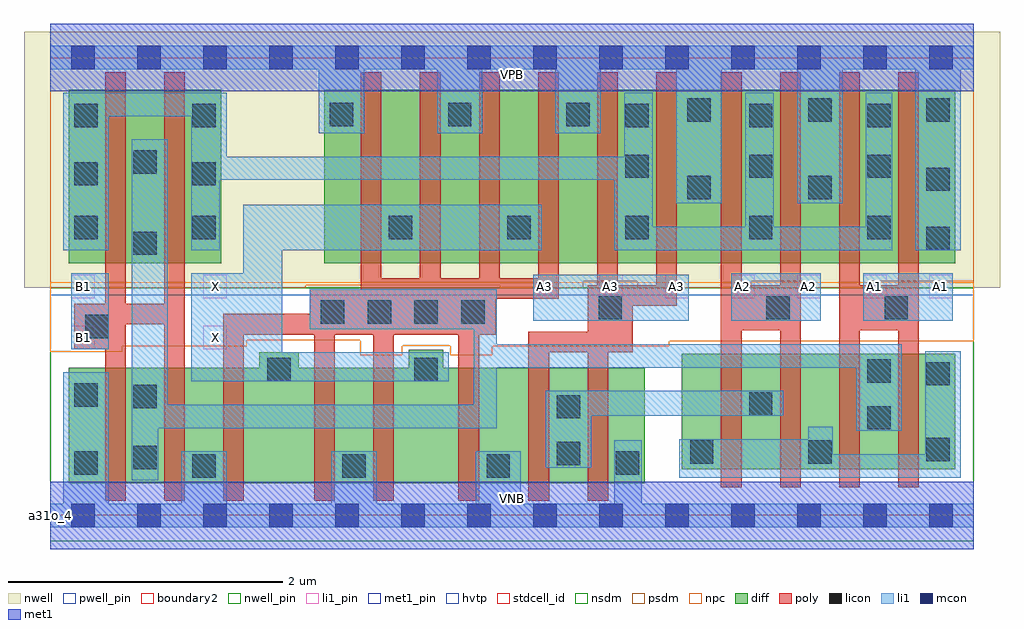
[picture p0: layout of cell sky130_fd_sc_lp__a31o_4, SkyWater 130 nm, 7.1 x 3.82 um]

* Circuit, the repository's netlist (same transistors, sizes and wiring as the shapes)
* Copyright 2020 The SkyWater PDK Authors
*
* Licensed under the Apache License, Version 2.0 (the "License");
* you may not use this file except in compliance with the License.
* You may obtain a copy of the License at
*
*     https://www.apache.org/licenses/LICENSE-2.0
*
* Unless required by applicable law or agreed to in writing, software
* distributed under the License is distributed on an "AS IS" BASIS,
* WITHOUT WARRANTIES OR CONDITIONS OF ANY KIND, either express or implied.
* See the License for the specific language governing permissions and
* limitations under the License.
*
* SPDX-License-Identifier: Apache-2.0

.SUBCKT sky130_fd_sc_lp__a31o_4 A1 A2 A3 B1 VGND VNB VPB VPWR X
*.PININFO A1:I A2:I A3:I B1:I VGND:I VNB:I VPB:I VPWR:I X:O
MMPA0 pndA A1 VPWR VPB sky130_fd_pr__pfet_01v8_hvt m=2 w=1.26U l=0.15U mult=1 sa=0.265
+ sb=0.265 sd=0.28 area=0.063 perim=1.14
MMPA1 pndA A2 VPWR VPB sky130_fd_pr__pfet_01v8_hvt m=2 w=1.26U l=0.15U mult=1 sa=0.265
+ sb=0.265 sd=0.28 area=0.063 perim=1.14
MMPA2 pndA A3 VPWR VPB sky130_fd_pr__pfet_01v8_hvt m=2 w=1.26U l=0.15U mult=1 sa=0.265
+ sb=0.265 sd=0.28 area=0.063 perim=1.14
MMPB0 y B1 pndA VPB sky130_fd_pr__pfet_01v8_hvt m=2 w=1.26U l=0.15U mult=1 sa=0.265
+ sb=0.265 sd=0.28 area=0.063 perim=1.14
MMIPX X y VPWR VPB sky130_fd_pr__pfet_01v8_hvt m=4 w=1.26U l=0.15U mult=1 sa=0.265
+ sb=0.265 sd=0.28 area=0.063 perim=1.14
MMNA0 y A1 sndA1 VNB sky130_fd_pr__nfet_01v8 m=2 w=0.84U l=0.15U mult=1 sa=0.265
+ sb=0.265 sd=0.28 area=0.063 perim=1.14
MMNA1 sndA1 A2 sndA2 VNB sky130_fd_pr__nfet_01v8 m=2 w=0.84U l=0.15U mult=1 sa=0.265
+ sb=0.265 sd=0.28 area=0.063 perim=1.14
MMNA2 sndA2 A3 VGND VNB sky130_fd_pr__nfet_01v8 m=2 w=0.84U l=0.15U mult=1 sa=0.265
+ sb=0.265 sd=0.28 area=0.063 perim=1.14
MMNB0 y B1 VGND VNB sky130_fd_pr__nfet_01v8 m=2 w=0.84U l=0.15U mult=1 sa=0.265
+ sb=0.265 sd=0.28 area=0.063 perim=1.14
MMINX X y VGND VNB sky130_fd_pr__nfet_01v8 m=4 w=0.84U l=0.15U mult=1 sa=0.265
+ sb=0.265 sd=0.28 area=0.063 perim=1.14
.ENDS sky130_fd_sc_lp__a31o_4

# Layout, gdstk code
import gdstk
lib = gdstk.Library(unit=1e-6, precision=1e-09)
def R(c, l, rs):  # rectangles x0, y0, x1, y1
    for r in rs: c.add(gdstk.rectangle(r[:2], r[2:], *l))
def A(c, l, x, y, w, h, nx, ny, dx, dy):  # array of equal rectangles
    R(c, l, [(x+i*dx, y+j*dy, x+i*dx+w, y+j*dy+h) for i in range(nx) for j in range(ny)])
def P(c, l, *ps):  # polygons
    for p in ps: c.add(gdstk.Polygon(p, *l))
nwell_pin = (64, 16)
nwell = (64, 20)
diff = (65, 20)
poly = (66, 20)
licon = (66, 44)
li1_pin = (67, 16)
li1 = (67, 20)
mcon = (67, 44)
met1_pin = (68, 16)
met1 = (68, 20)
hvtp = (78, 44)
stdcell_id = (81, 4)
nsdm = (93, 44)
psdm = (94, 20)
npc = (95, 20)
pwell_pin = (122, 16)
boundary2 = (236, 0)

sky130_fd_sc_lp__a31o_4 = lib.new_cell('sky130_fd_sc_lp__a31o_4')
R(sky130_fd_sc_lp__a31o_4, nwell_pin, [(0,3.085,6.72,3.33)])
R(sky130_fd_sc_lp__a31o_4, nwell, [(-0.19,1.655,6.91,3.52)])
R(sky130_fd_sc_lp__a31o_4, diff, [(4.595,0.335,6.585,1.175), (0.135,1.835,1.245,3.095), (1.995,1.835,6.585,3.095)])
P(sky130_fd_sc_lp__a31o_4, diff, [(4.325,1.075),(2.86,1.075),(2.86,1.205),(2.61,1.205),(2.61,1.075),(1.81,1.075),(1.81,1.185),(1.52,1.185),(1.52,1.075),(0.135,1.075),(0.135,0.235),(4.325,0.235)])
P(sky130_fd_sc_lp__a31o_4, poly, [(0.98,3.225),(0.83,3.225),(0.83,1.54),(0.55,1.54),(0.55,3.225),(0.4,3.225),(0.4,1.54),(0.175,1.54),(0.175,1.21),(0.4,1.21),(0.4,0.105),(0.55,0.105),(0.55,1.39),(0.83,1.39),(0.83,0.105),(0.98,0.105)],
  [(3.7,3.225),(3.55,3.225),(3.55,1.725),(3.27,1.725),(3.27,3.225),(3.12,3.225),(3.12,1.725),(2.84,1.725),(2.84,3.225),(2.69,3.225),(2.69,1.725),(2.41,1.725),(2.41,3.225),(2.26,3.225),(2.26,1.645),(1.89,1.645),(1.89,1.465),(1.26,1.465),(1.26,0.105),(1.41,0.105),(1.41,1.315),(1.92,1.315),(1.92,0.105),(2.07,0.105),(2.07,1.315),(2.35,1.315),(2.35,0.105),(2.5,0.105),(2.5,1.315),(2.97,1.315),(2.97,0.105),(3.12,0.105),(3.12,1.315),(3.24,1.315),(3.24,1.575),(3.7,1.575)],
  [(4.56,3.225),(4.41,3.225),(4.41,1.675),(4.13,1.675),(4.13,3.225),(3.98,3.225),(3.98,1.675),(3.91,1.675),(3.91,1.335),(3.48,1.335),(3.48,0.105),(3.63,0.105),(3.63,1.185),(3.91,1.185),(3.91,0.105),(4.06,0.105),(4.06,1.185),(4.24,1.185),(4.24,1.525),(4.56,1.525)],
  [(5.46,3.225),(5.31,3.225),(5.31,1.675),(5.03,1.675),(5.03,3.225),(4.88,3.225),(4.88,0.205),(5.03,0.205),(5.03,1.345),(5.31,1.345),(5.31,0.205),(5.46,0.205)],
  [(6.32,3.225),(6.17,3.225),(6.17,1.675),(5.89,1.675),(5.89,3.225),(5.74,3.225),(5.74,0.205),(5.89,0.205),(5.89,1.345),(6.17,1.345),(6.17,0.205),(6.32,0.205)])
A(sky130_fd_sc_lp__a31o_4, licon, 1.97, 1.395, 0.17, 0.17, 4, 1, 0.34, 0)
A(sky130_fd_sc_lp__a31o_4, licon, 2.465, 2.01, 0.17, 0.17, 3, 1, 0.86, 0)
A(sky130_fd_sc_lp__a31o_4, licon, 2.035, 2.83, 0.17, 0.17, 3, 1, 0.86, 0)
R(sky130_fd_sc_lp__a31o_4, licon, [(1.035,0.275,1.205,0.445), (2.125,0.275,2.295,0.445), (3.175,0.275,3.345,0.445), (0.175,0.295,0.345,0.465), (4.115,0.295,4.285,0.465), (0.605,0.335,0.775,0.505), (3.685,0.365,3.855,0.535), (4.655,0.375,4.825,0.545), (5.515,0.375,5.685,0.545), (6.375,0.395,6.545,0.565), (5.945,0.625,6.115,0.795), (3.685,0.705,3.855,0.875), (5.085,0.725,5.255,0.895), (0.605,0.78,0.775,0.95), (0.175,0.79,0.345,0.96), (6.375,0.945,6.545,1.115), (5.945,0.965,6.115,1.135), (1.58,0.975,1.75,1.145), (2.65,0.975,2.82,1.145), (0.255,1.29,0.425,1.46), (3.99,1.425,4.16,1.595), (5.21,1.425,5.38,1.595), (6.07,1.425,6.24,1.595), (0.605,1.895,0.775,2.065), (6.375,1.93,6.545,2.1), (0.175,2.01,0.345,2.18), (1.035,2.01,1.205,2.18), (5.085,2.01,5.255,2.18), (5.945,2.01,6.115,2.18), (4.635,2.3,4.805,2.47), (5.515,2.3,5.685,2.47), (6.375,2.36,6.545,2.53), (0.175,2.4,0.345,2.57), (1.035,2.4,1.205,2.57), (4.185,2.455,4.355,2.625), (5.085,2.455,5.255,2.625), (5.945,2.455,6.115,2.625), (0.605,2.485,0.775,2.655), (0.175,2.825,0.345,2.995), (1.035,2.825,1.205,2.995), (4.185,2.825,4.355,2.995), (5.085,2.825,5.255,2.995), (5.945,2.825,6.115,2.995), (4.635,2.865,4.805,3.035), (5.515,2.865,5.685,3.035), (6.375,2.865,6.545,3.035)])
A(sky130_fd_sc_lp__a31o_4, li1_pin, 3.515, 1.58, 0.17, 0.17, 7, 1, 0.48, 0)
R(sky130_fd_sc_lp__a31o_4, li1_pin, [(0.155,1.21,0.325,1.38), (1.115,1.21,1.285,1.38), (0.155,1.58,0.325,1.75), (1.115,1.58,1.285,1.75)])
R(sky130_fd_sc_lp__a31o_4, li1, [(0.155,1.21,0.425,1.76), (3.515,1.415,4.645,1.75), (4.955,1.415,5.605,1.76), (5.915,1.415,6.565,1.76)])
P(sky130_fd_sc_lp__a31o_4, li1, [(1.955,2.78),(1.955,3.245),(0,3.245),(0,3.415),(6.72,3.415),(6.72,3.245),(6.625,3.245),(6.625,1.93),(6.295,1.93),(6.295,3.245),(5.765,3.245),(5.765,2.27),(5.435,2.27),(5.435,3.245),(4.885,3.245),(4.885,2.27),(4.555,2.27),(4.555,3.245),(4.005,3.245),(4.005,2.78),(3.675,2.78),(3.675,3.245),(3.145,3.245),(3.145,2.78),(2.815,2.78),(2.815,3.245),(2.285,3.245),(2.285,2.78)],
  [(2.045,0.085),(2.045,0.465),(2.375,0.465),(2.375,0.085),(3.095,0.085),(3.095,0.465),(3.425,0.465),(3.425,0.085),(4.105,0.085),(4.105,0.545),(4.305,0.545),(4.305,0.085),(6.72,0.085),(6.72,-0.085),(0,-0.085),(0,0.085),(0.095,0.085),(0.095,1.04),(0.425,1.04),(0.425,0.085),(0.955,0.085),(0.955,0.465),(1.285,0.465),(1.285,0.085)],
  [(3.25,1.245),(6.195,1.245),(6.195,0.615),(5.865,0.615),(5.865,1.075),(3.25,1.075),(3.25,0.635),(0.785,0.635),(0.785,0.255),(0.595,0.255),(0.595,2.735),(0.855,2.735),(0.855,0.805),(3.08,0.805),(3.08,1.355),(1.89,1.355),(1.89,1.645),(3.25,1.645)],
  [(5.265,2.1),(5.935,2.1),(5.935,3.075),(6.125,3.075),(6.125,1.93),(4.105,1.93),(4.105,2.44),(1.235,2.44),(1.235,1.93),(1.025,1.93),(1.025,2.905),(0.425,2.905),(0.425,1.93),(0.095,1.93),(0.095,3.075),(1.285,3.075),(1.285,2.61),(4.175,2.61),(4.175,3.075),(4.385,3.075),(4.385,2.1),(5.055,2.1),(5.055,3.075),(5.265,3.075)],
  [(1.405,2.26),(3.575,2.26),(3.575,1.93),(1.69,1.93),(1.69,1.185),(2.9,1.185),(2.9,0.975),(1.025,0.975),(1.025,1.76),(1.405,1.76)],
  [(5.695,0.445),(6.365,0.445),(6.365,1.195),(6.625,1.195),(6.625,0.275),(4.575,0.275),(4.575,0.555),(5.515,0.555),(5.515,0.645),(5.695,0.645)],
  [(5.335,0.905),(5.335,0.725),(3.935,0.725),(3.935,0.345),(3.605,0.345),(3.605,0.905)])
A(sky130_fd_sc_lp__a31o_4, mcon, 0.155, -0.085, 0.17, 0.17, 14, 2, 0.48, 3.33)
R(sky130_fd_sc_lp__a31o_4, met1_pin, [(0,0,6.72,0.245), (0,3.085,6.72,3.33)])
R(sky130_fd_sc_lp__a31o_4, met1, [(0,-0.245,6.72,0.245), (0,3.085,6.72,3.575)])
R(sky130_fd_sc_lp__a31o_4, hvtp, [(0,1.6,6.72,3.33)])
R(sky130_fd_sc_lp__a31o_4, stdcell_id, [(0,0,6.72,3.33)])
R(sky130_fd_sc_lp__a31o_4, nsdm, [(0,-0.19,6.72,1.655)])
P(sky130_fd_sc_lp__a31o_4, psdm, [(6.72,3.52),(0,3.52),(0,1.655),(1.86,1.655),(1.86,1.675),(3.27,1.675),(3.27,1.655),(3.88,1.655),(3.88,1.705),(4.27,1.705),(4.27,1.655),(5.1,1.655),(5.1,1.705),(5.49,1.705),(5.49,1.655),(5.96,1.655),(5.96,1.705),(6.72,1.705)])
P(sky130_fd_sc_lp__a31o_4, npc, [(6.72,1.695),(0,1.695),(0,1.19),(0.525,1.19),(0.525,1.23),(1.43,1.23),(1.43,1.275),(2.255,1.275),(2.255,1.165),(2.56,1.165),(2.56,1.235),(2.91,1.235),(2.91,1.165),(3.215,1.165),(3.215,1.23),(4.505,1.23),(4.505,1.265),(6.72,1.265)])
R(sky130_fd_sc_lp__a31o_4, pwell_pin, [(0,0,6.72,0.245)])
R(sky130_fd_sc_lp__a31o_4, boundary2, [(0,0,6.72,3.33)])
sky130_fd_sc_lp__a31o_4.add(gdstk.Label('VNB', (3.36,0.123), layer=64, texttype=59))
sky130_fd_sc_lp__a31o_4.add(gdstk.Label('VPB', (3.36,3.208), layer=64, texttype=5))
sky130_fd_sc_lp__a31o_4.add(gdstk.Label('a31o_4', (0,0), layer=83, texttype=44))
sky130_fd_sc_lp__a31o_4.add(gdstk.Label('VPWR', (3.36,3.208), layer=68, texttype=5))
sky130_fd_sc_lp__a31o_4.add(gdstk.Label('VGND', (3.36,0.123), layer=68, texttype=5))
sky130_fd_sc_lp__a31o_4.add(gdstk.Label('A1', (6,1.665), layer=67, texttype=5))
sky130_fd_sc_lp__a31o_4.add(gdstk.Label('A1', (6.48,1.665), layer=67, texttype=5))
sky130_fd_sc_lp__a31o_4.add(gdstk.Label('A2', (5.04,1.665), layer=67, texttype=5))
sky130_fd_sc_lp__a31o_4.add(gdstk.Label('A2', (5.52,1.665), layer=67, texttype=5))
sky130_fd_sc_lp__a31o_4.add(gdstk.Label('A3', (3.6,1.665), layer=67, texttype=5))
sky130_fd_sc_lp__a31o_4.add(gdstk.Label('A3', (4.08,1.665), layer=67, texttype=5))
sky130_fd_sc_lp__a31o_4.add(gdstk.Label('A3', (4.56,1.665), layer=67, texttype=5))
sky130_fd_sc_lp__a31o_4.add(gdstk.Label('B1', (0.24,1.295), layer=67, texttype=5))
sky130_fd_sc_lp__a31o_4.add(gdstk.Label('B1', (0.24,1.665), layer=67, texttype=5))
sky130_fd_sc_lp__a31o_4.add(gdstk.Label('X', (1.2,1.295), layer=67, texttype=5))
sky130_fd_sc_lp__a31o_4.add(gdstk.Label('X', (1.2,1.665), layer=67, texttype=5))

lib.write_gds('sky130_fd_sc_lp__a31o_4.gds')
